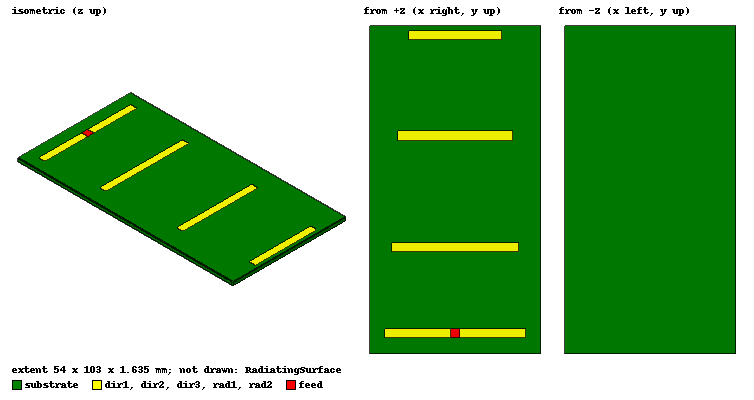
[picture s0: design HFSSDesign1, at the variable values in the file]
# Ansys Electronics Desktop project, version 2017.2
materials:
  vacuum: permittivity=1
  copper: permeability=0.999991 conductivity=58000000
  FR4_epoxy: permittivity=4.4 dielectric_loss_tangent=0.02

design HFSSDesign1 (HFSS, DrivenModal, model units mm)
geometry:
  dir1 [copper] = box(corner=((-39.7/2) mm, (24+3) mm, 0mm), size=(39.7mm, 3mm, 0.035mm))
  dir2 [copper] = box(corner=((-36/2) mm, (24+3+32+3) mm, 0mm), size=(36mm, 3mm, 0.035mm))
  dir3 [copper] = box(corner=((-29.5/2) mm, (24+3+32+3+28.45+3) mm, 0mm), size=(29.5mm, 3mm, 0.035mm))
  RadiatingSurface [vacuum] = region(absolute_offset=41.666667mm on all sides)
  rad1 [copper] = box(corner=(0mm, 0mm, 0mm), size=((44/2) mm, 3mm, 0.035mm))
  rad2 [copper] = box(corner=((-44/2) mm, 0mm, 0mm), size=((44/2) mm, 3mm, 0.035mm))
  feed [vacuum] = box(corner=((-3/2) mm, 0mm, 0mm), size=(3mm, 3mm, 0.035mm))
  feed_1 = feed.copy()
  rad1.subtract(feed_1)
  feed_2 = feed.copy()
  rad2.subtract(feed_2)
  substrate [FR4_epoxy] = box(corner=((-54/2) mm, -5mm, 0mm), size=(54mm, 103mm, -1.6mm))
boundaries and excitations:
  Open1: Radiation Objects=RadiatingSurface
  1: Lumped Port Faces=feed.face(+z) Modes{Mode1{IntLine{middle of feed.edge(3 of 12) -> middle of feed.edge(1 of 12)} CharImp=Zpi RenormImp=50ohm}} Impedance=50ohm
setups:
  Setup1: HfssDriven Frequency=2.4GHz MaxDeltaS=0.01 MaximumPasses=10 MinimumPasses=1 MinimumConvergedPasses=1 PercentRefinement=30 BasisOrder=1 PortAccuracy=2 RayDensityPerWavelength=4 MaxNumberOfBounces=5 SkipSBRSolveDuringAdaptivePasses
    sweep Sweep: 1GHz to 10GHz step 0.02GHz; Type=Interpolating InterpTolerance=0.5 InterpMaxSolns=250 InterpUsePortImped=false PassivityErrorTolerance=0.0001
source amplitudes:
  1:1: 1W 0deg
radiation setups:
  3D: Infinite Sphere Theta=0deg..180deg step 2deg Phi=-180deg..180deg step 2deg
  Elevation: Infinite Sphere Theta=-180deg..180deg step 1deg Phi=0deg..90deg step 90deg
  Azimuth: Infinite Sphere Theta=90deg..90deg step 0deg Phi=-180deg..180deg step 1deg
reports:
  S Parameter Plot 1: dB(S(1,1)) vs Freq on Setup1 : Sweep; markers m1 at 2.4GHz, m2 at 3.08GHz, m3 at 2.72GHz, m4 at 2.36GHz, m5 at 2.42GHz, m6 at 7.32GHz
  VSWR Plot 1: VSWR(1) vs Freq on Setup1 : Sweep; markers m1 at 2.4GHz, m2 at 3.04GHz, m3 at 2.26GHz, m4 at 2.32GHz, m5 at 2.34GHz
  Gain Plot 1: GainTotal vs Phi, Theta on Setup1 : LastAdaptive, 3D [Freq=2.4GHz]
  Directivity Plot 1: DirTotal vs Phi, Theta on Setup1 : LastAdaptive, 3D [Freq=2.4GHz]
